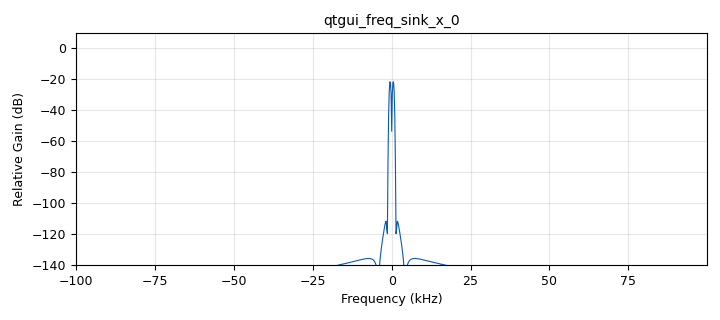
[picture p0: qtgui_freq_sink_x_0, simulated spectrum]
<?xml version='1.0' encoding='utf-8'?>
<?grc format='1' created='3.7.10'?>
<flow_graph>
<block>
<key>options</key>
<param><key>id</key><value>TRANSMISOR</value></param>
<param><key>author</key><value>DDC</value></param>
<param><key>generate_options</key><value>qt_gui</value></param>
<param><key>title</key><value>TRANSMISOR</value></param>
</block>
<block>
<key>variable_qtgui_range</key>
<param><key>id</key><value>A</value></param>
<param><key>value</key><value>0.5</value></param>
<param><key>orient</key><value>Qt.Horizontal</value></param>
<param><key>start</key><value>0</value></param>
<param><key>step</key><value>0.01</value></param>
<param><key>stop</key><value>1</value></param>
</block>
<block>
<key>variable_qtgui_range</key>
<param><key>id</key><value>fc</value></param>
<param><key>value</key><value>100e6</value></param>
<param><key>orient</key><value>Qt.Horizontal</value></param>
<param><key>start</key><value>50e6</value></param>
<param><key>step</key><value>0.1e6</value></param>
<param><key>stop</key><value>2.2e9</value></param>
</block>
<block>
<key>variable_qtgui_range</key>
<param><key>id</key><value>fm</value></param>
<param><key>value</key><value>500</value></param>
<param><key>orient</key><value>Qt.Horizontal</value></param>
<param><key>start</key><value>0</value></param>
<param><key>step</key><value>100</value></param>
<param><key>stop</key><value>22000</value></param>
</block>
<block>
<key>variable_qtgui_range</key>
<param><key>id</key><value>gain</value></param>
<param><key>value</key><value>10</value></param>
<param><key>orient</key><value>Qt.Horizontal</value></param>
<param><key>start</key><value>0</value></param>
<param><key>step</key><value>1</value></param>
<param><key>stop</key><value>30</value></param>
</block>
<block>
<key>variable</key>
<param><key>id</key><value>samp_rate</value></param>
<param><key>value</key><value>200000</value></param>
</block>
<block>
<key>analog_sig_source_x</key>
<param><key>id</key><value>analog_sig_source_x_0</value></param>
<param><key>amp</key><value>A</value></param>
<param><key>freq</key><value>fm</value></param>
<param><key>offset</key><value>0</value></param>
<param><key>type</key><value>float</value></param>
<param><key>samp_rate</key><value>samp_rate</value></param>
<param><key>waveform</key><value>analog.GR_COS_WAVE</value></param>
</block>
<block>
<key>blocks_float_to_complex</key>
<param><key>id</key><value>blocks_float_to_complex_0</value></param>
</block>
<block>
<key>blocks_null_source</key>
<param><key>id</key><value>blocks_null_source_0</value></param>
<param><key>bus_conns</key><value>[[0,],]</value></param>
<param><key>type</key><value>float</value></param>
</block>
<block>
<key>qtgui_freq_sink_x</key>
<param><key>id</key><value>qtgui_freq_sink_x_0</value></param>
<param><key>bw</key><value>samp_rate</value></param>
<param><key>fc</key><value>0</value></param>
<param><key>fftsize</key><value>1024</value></param>
<param><key>showports</key><value>True</value></param>
<param><key>type</key><value>complex</value></param>
<param><key>wintype</key><value>firdes.WIN_BLACKMAN_hARRIS</value></param>
</block>
<block>
<key>uhd_usrp_sink</key>
<param><key>id</key><value>uhd_usrp_sink_0</value></param>
<param><key>ant0</key><value>TX/RX</value></param>
<param><key>center_freq0</key><value>fc</value></param>
<param><key>norm_gain0</key><value>False</value></param>
<param><key>gain0</key><value>gain</value></param>
<param><key>clock_rate</key><value>0.0</value></param>
<param><key>dev_args</key><value>""</value></param>
<param><key>type</key><value>fc32</value></param>
<param><key>samp_rate</key><value>samp_rate</value></param>
<param><key>hide_cmd_port</key><value>False</value></param>
<param><key>hide_lo_controls</key><value>True</value></param>
<param><key>sync</key><value></value></param>
<param><key>len_tag_name</key><value></value></param>
</block>
<connection><source_block_id>analog_sig_source_x_0</source_block_id><sink_block_id>blocks_float_to_complex_0</sink_block_id><source_key>0</source_key><sink_key>0</sink_key></connection>
<connection><source_block_id>blocks_float_to_complex_0</source_block_id><sink_block_id>qtgui_freq_sink_x_0</sink_block_id><source_key>0</source_key><sink_key>0</sink_key></connection>
<connection><source_block_id>blocks_float_to_complex_0</source_block_id><sink_block_id>uhd_usrp_sink_0</sink_block_id><source_key>0</source_key><sink_key>0</sink_key></connection>
<connection><source_block_id>blocks_null_source_0</source_block_id><sink_block_id>blocks_float_to_complex_0</sink_block_id><source_key>0</source_key><sink_key>1</sink_key></connection>
</flow_graph>
